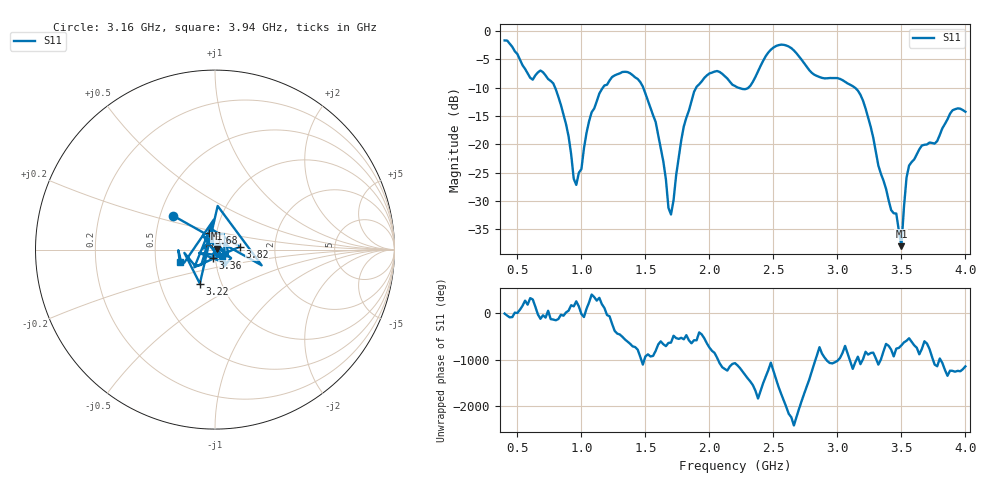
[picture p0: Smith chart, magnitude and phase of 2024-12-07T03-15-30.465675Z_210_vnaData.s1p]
!Created with skrf (http://scikit-rf.org).
# Hz S RI R 50.0
!freq ReS11 ImS11
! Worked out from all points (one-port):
!   181 points, 400 MHz to 4 GHz, reference 50 ohm
!   lowest |S11| = -38.0 dB at 3.5 GHz (marker M1), VSWR 1.03, Z = 51.2 + j0.49 ohm
!   |S11| at or under -10 dB: 794.9 MHz to 1.167 GHz (372.4 MHz wide, 38 % of centre); 1.483 GHz to 1.896 GHz (412.6 MHz wide, 24.4 % of centre); 3.138 GHz to end of sweep (the widest 3 of 4)
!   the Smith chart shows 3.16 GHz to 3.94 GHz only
!   S11 on the Smith chart (normalised r, x): 3.16 GHz: 0.59, +0.24; 3.22 GHz: 0.79, -0.31; 3.36 GHz: 0.97, -0.09; 3.68 GHz: 0.92, +0.17; 3.82 GHz: 1.32, +0.04; 3.94 GHz: 0.67, -0.09
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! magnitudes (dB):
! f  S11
! 400 MHz  -1.6
! 600 MHz  -8.2
! 780 MHz  -9.2
! 860 MHz  -14.7
! 960 MHz  -27.2
! 1.08 GHz  -14.3
! 1.3 GHz  -7.5
! 1.5 GHz  -11.0
! 1.58 GHz  -16.0
! 1.7 GHz  -32.4
! 1.76 GHz  -22.3
! 1.9 GHz  -9.8
! 2.06 GHz  -7.0
! 2.2 GHz  -9.7
! 2.32 GHz  -9.6
! 2.5 GHz  -2.9
! 2.66 GHz  -3.4
! 3.1 GHz  -9.5
! 3.16 GHz  -10.5
! 3.22 GHz  -13.7
! 3.36 GHz  -26.4
! 3.5 GHz  -38.0
! 3.54 GHz  -25.9
! 3.56 GHz  -23.8
! 3.68 GHz  -20.1
! 3.82 GHz  -17.2
! 3.94 GHz  -13.6
! 4 GHz  -14.2
